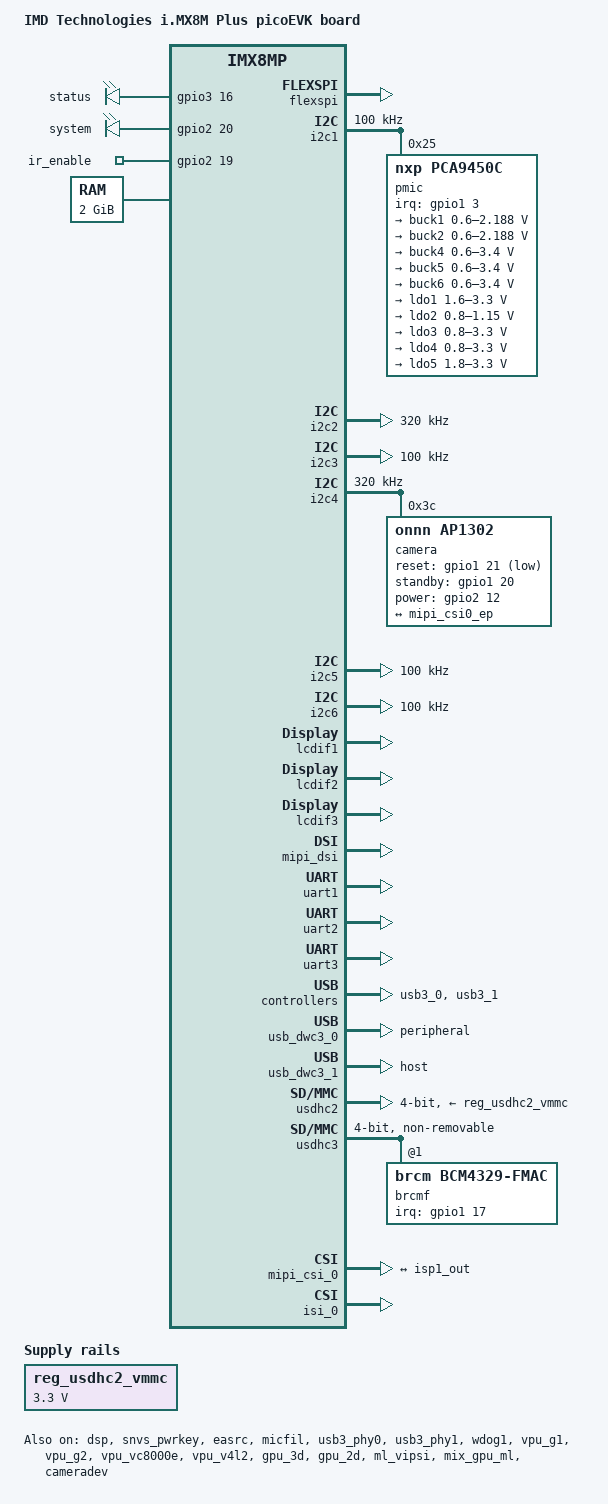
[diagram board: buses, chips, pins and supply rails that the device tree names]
// SPDX-License-Identifier: (GPL-2.0+ OR MIT)
/*
 * Copyright 2019 NXP
 */

/dts-v1/;

#include <dt-bindings/usb/pd.h>
#include "imx8mp.dtsi"

/ {
	model = "IMD Technologies i.MX8M Plus picoEVK board";
	compatible = "imdt,imx8mp-imdt-picoevk", "fsl,imx8mp";

	chosen {
		stdout-path = &uart2;
	};

	gpio-leds {
		compatible = "gpio-leds";
		pinctrl-names = "default";
		pinctrl-0 = <&pinctrl_gpio_led>;

		status {
			label = "status";
			gpios = <&gpio3 16 GPIO_ACTIVE_HIGH>;
			default-state = "on";
		};

		system {
			label = "system";
			gpios = <&gpio2 20 GPIO_ACTIVE_HIGH>;
			default-state = "on";
		};

		ir_enable {
			label = "ir_enable";
			gpios = <&gpio2 19 GPIO_ACTIVE_HIGH>;
			default-state = "off";
		};
	};

	memory@40000000 {
		device_type = "memory";
		reg = <0x0 0x40000000 0 0x80000000>;
	};

	resmem: reserved-memory {
		#address-cells = <2>;
		#size-cells = <2>;
		ranges;

		/* global autoconfigured region for contiguous allocations */
		linux,cma {
			compatible = "shared-dma-pool";
			reusable;
			size = <0 0x20000000>;
			alloc-ranges = <0 0x40000000 0 0x80000000>;
			linux,cma-default;
		};
	};

	reg_usdhc2_vmmc: regulator-usdhc2 {
		compatible = "regulator-fixed";
		regulator-name = "VSD_3V3";
		regulator-min-microvolt = <3300000>;
		regulator-max-microvolt = <3300000>;
	};

	sound-micfil {
		compatible = "fsl,imx-audio-micfil";
		model = "imx-audio-micfil";
		cpu-dai = <&micfil>;
	};
};

&A53_0 {
	cpu-supply = <&buck2>;
};

&A53_1 {
	cpu-supply = <&buck2>;
};

&A53_2 {
	cpu-supply = <&buck2>;
};

&A53_3 {
	cpu-supply = <&buck2>;
};

&dsp {
	status = "okay";
};

&pwm1 {
	status = "disabled";
};

&pwm2 {
	status = "disabled";
};

&pwm4 {
	status = "disabled";
};

&aud2htx {
	status = "disabled";
};

&ecspi2 {
	status = "disabled";
};

&flexspi {
	pinctrl-names = "default";
	pinctrl-0 = <&pinctrl_flexspi0>;
	status = "okay";
};

&i2c1 {
	clock-frequency = <100000>;
	pinctrl-names = "default";
	pinctrl-0 = <&pinctrl_i2c1>;
	status = "okay";

	pmic: pca9450@25 {
		reg = <0x25>;
		compatible = "nxp,pca9450c";
		/* PMIC PCA9450 PMIC_nINT GPIO1_IO3 */
		pinctrl-0 = <&pinctrl_pmic>;
		interrupt-parent = <&gpio1>;
		interrupts = <3 GPIO_ACTIVE_LOW>;

		regulators {
			buck1: BUCK1 {
				regulator-name = "BUCK1";
				regulator-min-microvolt = <600000>;
				regulator-max-microvolt = <2187500>;
				regulator-boot-on;
				regulator-always-on;
				regulator-ramp-delay = <3125>;
			};

			buck2: BUCK2 {
				regulator-name = "BUCK2";
				regulator-min-microvolt = <600000>;
				regulator-max-microvolt = <2187500>;
				regulator-boot-on;
				regulator-always-on;
				regulator-ramp-delay = <3125>;
				nxp,dvs-run-voltage = <950000>;
				nxp,dvs-standby-voltage = <850000>;
			};

			buck4: BUCK4{
				regulator-name = "BUCK4";
				regulator-min-microvolt = <600000>;
				regulator-max-microvolt = <3400000>;
				regulator-boot-on;
				regulator-always-on;
			};

			buck5: BUCK5{
				regulator-name = "BUCK5";
				regulator-min-microvolt = <600000>;
				regulator-max-microvolt = <3400000>;
				regulator-boot-on;
				regulator-always-on;
			};

			buck6: BUCK6 {
				regulator-name = "BUCK6";
				regulator-min-microvolt = <600000>;
				regulator-max-microvolt = <3400000>;
				regulator-boot-on;
				regulator-always-on;
			};

			ldo1: LDO1 {
				regulator-name = "LDO1";
				regulator-min-microvolt = <1600000>;
				regulator-max-microvolt = <3300000>;
				regulator-boot-on;
				regulator-always-on;
			};

			ldo2: LDO2 {
				regulator-name = "LDO2";
				regulator-min-microvolt = <800000>;
				regulator-max-microvolt = <1150000>;
				regulator-boot-on;
				regulator-always-on;
			};

			ldo3: LDO3 {
				regulator-name = "LDO3";
				regulator-min-microvolt = <800000>;
				regulator-max-microvolt = <3300000>;
				regulator-boot-on;
				regulator-always-on;
			};

			ldo4: LDO4 {
				regulator-name = "LDO4";
				regulator-min-microvolt = <800000>;
				regulator-max-microvolt = <3300000>;
				regulator-boot-on;
				regulator-always-on;
			};

			ldo5: LDO5 {
				regulator-name = "LDO5";
				regulator-min-microvolt = <1800000>;
				regulator-max-microvolt = <3300000>;
				regulator-boot-on;
				regulator-always-on;
			};
		};
	};
};

&i2c2 {
	clock-frequency = <320000>;
	pinctrl-names = "default";
	pinctrl-0 = <&pinctrl_i2c2>;
	status = "okay";

	// bmx160 {
	// 	compatible = "bosch,bmx160";
	// 	reg = <0x68>;

	// 	pinctrl-0 = <&pinctrl_imu>;

	// 	interrupt-parent = <&gpio3>;
	// 	interrupts = <14 IRQ_TYPE_EDGE_RISING>;
	// 	interrupt-names = "INT1";
	// };
};

&i2c3 {
	clock-frequency = <100000>;
	pinctrl-names = "default";
	pinctrl-0 = <&pinctrl_i2c3>;
	status = "okay";

	/* TODO: GG25LJ */
	/* TODO: HM0360 */

	// bq25890 {
	// 	compatible = "ti,bq25890";
	// 	reg = <0x6a>;

	// 	// interrupt-parent = <&gpio1>;
	// 	// interrupts = <16 IRQ_TYPE_EDGE_FALLING>;

	// 	ti,battery-regulation-voltage = <4200000>;
	// 	ti,charge-current = <1000000>;
	// 	ti,termination-current = <50000>;
	// 	ti,precharge-current = <128000>;
	// 	ti,minimum-sys-voltage = <3600000>;
	// 	ti,boost-voltage = <5000000>;
	// 	ti,boost-max-current = <500000>;

	// 	ti,use-ilim-pin;
	// 	ti,thermal-regulation-threshold = <120>;
	// };

	// bme688 {
	// 	compatible = "bosch,bme688";
	// 	reg = <0x76>;
	// };
};

&i2c4 {
	clock-frequency = <320000>;
	pinctrl-names = "default";
	pinctrl-0 = <&pinctrl_i2c4>;
	status = "okay";

	camera@3c {
		compatible = "onnn,ap1302";
		reg = <0x3c>;

		pinctrl-names = "default";
		pinctrl-0 = <&pinctrl_csi0_pwn>, <&pinctrl_csi0_stby>, <&pinctrl_csi0_rst>, <&pinctrl_csi_mclk>;

		clocks = <&clk IMX8MP_CLK_IPP_DO_CLKO2>;
		clock-names = "csi_mclk";
		assigned-clocks = <&clk IMX8MP_CLK_IPP_DO_CLKO2>;
		assigned-clock-parents = <&clk IMX8MP_CLK_24M>;
		assigned-clock-rates = <24000000>;

		reset-gpios = <&gpio1 21 GPIO_ACTIVE_LOW>;
		standby-gpios = <&gpio1 20 GPIO_ACTIVE_HIGH>;
		power-gpios = <&gpio2 12 GPIO_ACTIVE_HIGH>;

		port {
			isp1_out: endpoint {
				remote-endpoint = <&mipi_csi0_ep>;
				data-lanes = <1 2 3 4>;
			};
		};

		sensors {
			#address-cells = <1>;
			#size-cells = <0>;

			onnn,model = "onnn,ar1335";

			sensor@0 {
				reg = <0>;
			};
		};
	};
};

&i2c5 {
	clock-frequency = <100000>;
	pinctrl-names = "default";
	pinctrl-0 = <&pinctrl_i2c5>;
	status = "okay";
};

&i2c6 {
	clock-frequency = <100000>;
	pinctrl-names = "default";
	pinctrl-0 = <&pinctrl_i2c6>;
	status = "okay";

	/* TODO: optional display */
};

&irqsteer_hdmi {
	status = "disabled";
};

&hdmi_blk_ctrl {
	status = "disabled";
};

&hdmi_pavi {
	status = "disabled";
};

&hdmi {
	status = "disabled";
};

&hdmiphy {
	status = "disabled";
};

&lcdif1 {
	status = "okay";
};

&lcdif2 {
	status = "okay";
};

&lcdif3 {
	status = "okay";

	thres-low  = <1 2>;             /* (FIFO * 1 / 2) */
	thres-high = <3 4>;             /* (FIFO * 3 / 4) */
};

&ldb {
	status = "disabled";
};

&ldb_phy {
	status = "disabled";
};

&mipi_dsi {
	status = "okay";

	// port@1 {
	// 	dsim_to_adv7535: endpoint {
	// 		remote-endpoint = <&adv7535_from_dsim>;
	// 		attach-bridge;
	// 	};
	// };
};

&snvs_pwrkey {
	status = "okay";
};

&easrc {
	fsl,asrc-rate  = <48000>;
	status = "okay";
};

&micfil {
	pinctrl-names = "default";
	pinctrl-0 = <&pinctrl_pdm>;
	assigned-clocks = <&clk IMX8MP_CLK_PDM>;
	assigned-clock-parents = <&clk IMX8MP_AUDIO_PLL1_OUT>;
	assigned-clock-rates = <196608000>;
	status = "okay";
};

&pcie{
	status = "disabled";
};

&pcie_ep{
	status = "disabled";
};

&pcie_phy{
	status = "disabled";
};

&sai2 {
	status = "disabled";
};

&sai3 {
	status = "disabled";
};

&xcvr {
	status = "disabled";
};

&sdma2 {
	status = "okay";
};

&uart1 {
	/* Bluetooth */
	pinctrl-names = "default";
	pinctrl-0 = <&pinctrl_uart1>, <&pinctrl_bluetooth>;
	assigned-clocks = <&clk IMX8MP_CLK_UART1>;
	assigned-clock-parents = <&clk IMX8MP_SYS_PLL1_80M>;
	fsl,uart-has-rtscts;
	status = "okay";

	// bluetooth {
	// 	compatible = "brcm,bcm43438-bt";

	// 	pinctrl-names = "default";
	// 	pinctrl-0 = <&pinctrl_bluetooth>;

	// 	shutdown-gpios = <&gpio1 27 GPIO_ACTIVE_HIGH>;
	// 	host-wakeup-gpios = <&gpio1 26 GPIO_ACTIVE_HIGH>;
	// };
};

&uart2 {
	/* Serial console */
	pinctrl-names = "default";
	pinctrl-0 = <&pinctrl_uart2>;
	status = "okay";
};

&uart3 {
	/* Cellular */
	pinctrl-names = "default";
	pinctrl-0 = <&pinctrl_uart3>;
	assigned-clocks = <&clk IMX8MP_CLK_UART3>;
	assigned-clock-parents = <&clk IMX8MP_SYS_PLL1_80M>;
	status = "okay";
};

&usb3_phy0 {
	fsl,phy-tx-vref-tune = <0xe>;
	fsl,phy-tx-preemp-amp-tune = <3>;
	fsl,phy-tx-vboost-level = <5>;
	fsl,phy-comp-dis-tune = <7>;
	fsl,pcs-tx-deemph-3p5db = <0x21>;
	fsl,phy-pcs-tx-swing-full = <0x7f>;
	status = "okay";
};

&usb3_0 {
	status = "okay";
};

&usb_dwc3_0 {
	dr_mode = "peripheral";
	hnp-disable;
	srp-disable;
	adp-disable;
	status = "okay";
};

&usb3_phy1 {
	fsl,phy-tx-preemp-amp-tune = <3>;
	fsl,phy-tx-vref-tune = <0xb>;
	status = "okay";
};

&usb3_1 {
	status = "okay";
};

&usb_dwc3_1 {
	pinctrl-names = "default";
	pinctrl-0 = <&pinctrl_usb1_vbus>;
	dr_mode = "host";
	status = "okay";
};

&usdhc2 {
	/* Micro SD card */
	assigned-clocks = <&clk IMX8MP_CLK_USDHC2>;
	assigned-clock-rates = <400000000>;
	pinctrl-names = "default", "state_100mhz", "state_200mhz";
	pinctrl-0 = <&pinctrl_usdhc2>;
	pinctrl-1 = <&pinctrl_usdhc2_100mhz>;
	pinctrl-2 = <&pinctrl_usdhc2_200mhz>;
	vmmc-supply = <&reg_usdhc2_vmmc>;
	bus-width = <4>;
	status = "okay";
};

&usdhc3 {
	/* Wi-Fi module */
	pinctrl-names = "default", "state_100mhz", "state_200mhz";
	pinctrl-0 = <&pinctrl_usdhc3>, <&pinctrl_usdhc3_gpio>;
	pinctrl-1 = <&pinctrl_usdhc3_100mhz>, <&pinctrl_usdhc3_gpio>;
	pinctrl-2 = <&pinctrl_usdhc3_200mhz>, <&pinctrl_usdhc3_gpio>;
	bus-width = <4>;
	pm-ignore-notify;
	keep-power-in-suspend;
	non-removable;
	cap-power-off-card;
	/delete-property/ vmmc-supply;
	status = "okay";

	brcmf: bcrmf@1 {
		reg = <1>;
		compatible = "brcm,bcm4329-fmac";

		pinctrl-names = "default";
		pinctrl-0 = <&pinctrl_wlan_irq>;

		interrupt-parent = <&gpio1>;
		interrupts = <17 IRQ_TYPE_LEVEL_HIGH>;
		interrupt-names = "host-wake";
	};
};

&wdog1 {
	pinctrl-names = "default";
	pinctrl-0 = <&pinctrl_wdog>;
	fsl,ext-reset-output;
	status = "okay";
};

&iomuxc {
	pinctrl-names = "default";

	pinctrl_flexspi0: flexspi0grp {
		fsl,pins = <
			MX8MP_IOMUXC_NAND_ALE__FLEXSPI_A_SCLK           0x1c2
			MX8MP_IOMUXC_NAND_CE0_B__FLEXSPI_A_SS0_B        0x82
			MX8MP_IOMUXC_NAND_DATA00__FLEXSPI_A_DATA00      0x82
			MX8MP_IOMUXC_NAND_DATA01__FLEXSPI_A_DATA01      0x82
		>;
	};

	pinctrl_gpio_led: gpioledgrp {
		fsl,pins = <
			MX8MP_IOMUXC_NAND_READY_B__GPIO3_IO16	0x19
			MX8MP_IOMUXC_SD2_WP__GPIO2_IO20		0x19
			MX8MP_IOMUXC_SD2_RESET_B__GPIO2_IO19	0x19
		>;
	};

	pinctrl_i2c1: i2c1grp {
		fsl,pins = <
			MX8MP_IOMUXC_I2C1_SCL__I2C1_SCL		0x400001c3
			MX8MP_IOMUXC_I2C1_SDA__I2C1_SDA		0x400001c3
		>;
	};

	pinctrl_i2c2: i2c2grp {
		fsl,pins = <
			MX8MP_IOMUXC_I2C2_SCL__I2C2_SCL		0x400001c3
			MX8MP_IOMUXC_I2C2_SDA__I2C2_SDA		0x400001c3
		>;
	};

	pinctrl_i2c3: i2c3grp {
		fsl,pins = <
			MX8MP_IOMUXC_I2C3_SCL__I2C3_SCL		0x400001c3
			MX8MP_IOMUXC_I2C3_SDA__I2C3_SDA		0x400001c3
		>;
	};

	pinctrl_i2c4: i2c4grp {
		fsl,pins = <
			MX8MP_IOMUXC_I2C4_SCL__I2C4_SCL			0x400001c3
			MX8MP_IOMUXC_I2C4_SDA__I2C4_SDA			0x400001c3
		>;
	};

	pinctrl_i2c5: i2c5grp {
		fsl,pins = <
			MX8MP_IOMUXC_HDMI_DDC_SCL__I2C5_SCL		0x400001c3
			MX8MP_IOMUXC_HDMI_DDC_SDA__I2C5_SDA		0x400001c3
		>;
	};

	pinctrl_i2c6: i2c6grp {
		fsl,pins = <
			MX8MP_IOMUXC_HDMI_CEC__I2C6_SCL			0x400001c3
			MX8MP_IOMUXC_HDMI_HPD__I2C6_SDA			0x400001c3
		>;
	};

	pinctrl_pmic: pmicirq {
		fsl,pins = <
			MX8MP_IOMUXC_GPIO1_IO03__GPIO1_IO03	0x41
		>;
	};

	// pinctrl_imu: imuirq {
	// 	fsl,pins = <
	// 		MX8MP_IOMUXC_NAND_DQS__GPIO3_IO14	0x41
	// 	>;
	// };

	pinctrl_pdm: pdmgrp {
		fsl,pins = <
			MX8MP_IOMUXC_SAI3_RXC__AUDIOMIX_PDM_CLK		0xd6
			MX8MP_IOMUXC_SAI3_RXFS__AUDIOMIX_PDM_BIT_STREAM00	0xd6
			MX8MP_IOMUXC_SAI5_RXD3__AUDIOMIX_PDM_BIT_STREAM03	0xd6
		>;
	};

	pinctrl_uart1: uart1grp {
		fsl,pins = <
			MX8MP_IOMUXC_UART1_RXD__UART1_DCE_RX	0x140
			MX8MP_IOMUXC_UART1_TXD__UART1_DCE_TX	0x140
			MX8MP_IOMUXC_UART3_RXD__UART1_DCE_CTS	0x140
			MX8MP_IOMUXC_UART3_TXD__UART1_DCE_RTS	0x140
		>;
	};

	pinctrl_uart2: uart2grp {
		fsl,pins = <
			MX8MP_IOMUXC_UART2_RXD__UART2_DCE_RX	0x49
			MX8MP_IOMUXC_UART2_TXD__UART2_DCE_TX	0x49
		>;
	};

	pinctrl_uart3: uart3grp {
		fsl,pins = <
			MX8MP_IOMUXC_ECSPI1_SCLK__UART3_DCE_RX		0x140
			MX8MP_IOMUXC_ECSPI1_MOSI__UART3_DCE_TX		0x140
		>;
	};

	pinctrl_usb1_vbus: usb1grp {
		fsl,pins = <
			MX8MP_IOMUXC_GPIO1_IO14__USB2_PWR		0x19
		>;
	};

	pinctrl_usdhc2: usdhc2grp {
		fsl,pins = <
			MX8MP_IOMUXC_SD2_CLK__USDHC2_CLK	0x190
			MX8MP_IOMUXC_SD2_CMD__USDHC2_CMD	0x1d0
			MX8MP_IOMUXC_SD2_DATA0__USDHC2_DATA0	0x1d0
			MX8MP_IOMUXC_SD2_DATA1__USDHC2_DATA1	0x1d0
			MX8MP_IOMUXC_SD2_DATA2__USDHC2_DATA2	0x1d0
			MX8MP_IOMUXC_SD2_DATA3__USDHC2_DATA3	0x1d0
			MX8MP_IOMUXC_GPIO1_IO04__USDHC2_VSELECT	0xc1
		>;
	};

	pinctrl_usdhc2_100mhz: usdhc2-100mhzgrp {
		fsl,pins = <
			MX8MP_IOMUXC_SD2_CLK__USDHC2_CLK	0x194
			MX8MP_IOMUXC_SD2_CMD__USDHC2_CMD	0x1d4
			MX8MP_IOMUXC_SD2_DATA0__USDHC2_DATA0	0x1d4
			MX8MP_IOMUXC_SD2_DATA1__USDHC2_DATA1	0x1d4
			MX8MP_IOMUXC_SD2_DATA2__USDHC2_DATA2	0x1d4
			MX8MP_IOMUXC_SD2_DATA3__USDHC2_DATA3	0x1d4
			MX8MP_IOMUXC_GPIO1_IO04__USDHC2_VSELECT 0xc1
		>;
	};

	pinctrl_usdhc2_200mhz: usdhc2-200mhzgrp {
		fsl,pins = <
			MX8MP_IOMUXC_SD2_CLK__USDHC2_CLK	0x196
			MX8MP_IOMUXC_SD2_CMD__USDHC2_CMD	0x1d6
			MX8MP_IOMUXC_SD2_DATA0__USDHC2_DATA0	0x1d6
			MX8MP_IOMUXC_SD2_DATA1__USDHC2_DATA1	0x1d6
			MX8MP_IOMUXC_SD2_DATA2__USDHC2_DATA2	0x1d6
			MX8MP_IOMUXC_SD2_DATA3__USDHC2_DATA3	0x1d6
			MX8MP_IOMUXC_GPIO1_IO04__USDHC2_VSELECT 0xc1
		>;
	};

	pinctrl_usdhc3: usdhc3grp {
		fsl,pins = <
			MX8MP_IOMUXC_ENET_RD2__USDHC3_CLK       0x190
			MX8MP_IOMUXC_ENET_RD3__USDHC3_CMD       0x1d0
			MX8MP_IOMUXC_ENET_TX_CTL__USDHC3_DATA0  0x1d0
			MX8MP_IOMUXC_ENET_TXC__USDHC3_DATA1     0x1d0
			MX8MP_IOMUXC_ENET_RX_CTL__USDHC3_DATA2  0x1d0
			MX8MP_IOMUXC_ENET_RXC__USDHC3_DATA3     0x1d0
		>;
	};

	pinctrl_usdhc3_100mhz: usdhc3-100mhzgrp {
		fsl,pins = <
			MX8MP_IOMUXC_ENET_RD2__USDHC3_CLK       0x194
			MX8MP_IOMUXC_ENET_RD3__USDHC3_CMD       0x1d4
			MX8MP_IOMUXC_ENET_TX_CTL__USDHC3_DATA0  0x1d4
			MX8MP_IOMUXC_ENET_TXC__USDHC3_DATA1     0x1d4
			MX8MP_IOMUXC_ENET_RX_CTL__USDHC3_DATA2  0x1d4
			MX8MP_IOMUXC_ENET_RXC__USDHC3_DATA3     0x1d4
		>;
	};

	pinctrl_usdhc3_200mhz: usdhc3-200mhzgrp {
		fsl,pins = <
			MX8MP_IOMUXC_ENET_RD2__USDHC3_CLK       0x196
			MX8MP_IOMUXC_ENET_RD3__USDHC3_CMD       0x1d6
			MX8MP_IOMUXC_ENET_TX_CTL__USDHC3_DATA0  0x1d6
			MX8MP_IOMUXC_ENET_TXC__USDHC3_DATA1     0x1d6
			MX8MP_IOMUXC_ENET_RX_CTL__USDHC3_DATA2  0x1d6
			MX8MP_IOMUXC_ENET_RXC__USDHC3_DATA3     0x1d6
		>;
	};

	// WL_REG_ON
	pinctrl_usdhc3_gpio: usdhc3gpiogrp {
		fsl,pins = <
			MX8MP_IOMUXC_ENET_MDC__GPIO1_IO16	0x1c4
		>;
	};

	// BT_REG_ON
	pinctrl_bluetooth: bluetoothgrp {
		fsl,pins = <
			MX8MP_IOMUXC_ENET_RD1__GPIO1_IO27	0x1c4
			MX8MP_IOMUXC_ENET_RD0__GPIO1_IO26	0x1c4
		>;
	};

	pinctrl_wdog: wdoggrp {
		fsl,pins = <
			MX8MP_IOMUXC_GPIO1_IO02__WDOG1_WDOG_B	0xc6
		>;
	};

	// WL_WAKE
	pinctrl_wlan_irq: wlangrp {
		fsl,pins = <
			MX8MP_IOMUXC_ENET_MDIO__GPIO1_IO17	0x19
		>;
	};

	// HR_CAM_EN
	pinctrl_csi0_pwn: csi0_pwn_grp {
		fsl,pins = <
			MX8MP_IOMUXC_SD2_CD_B__GPIO2_IO12	0x19
		>;
	};

	// ISP_STBY
	pinctrl_csi0_stby: csi0_stby_grp {
		fsl,pins = <
			MX8MP_IOMUXC_ENET_TD1__GPIO1_IO20	0x19
		>;
	};

	// ISP_RSTn
	pinctrl_csi0_rst: csi0_rst_grp {
		fsl,pins = <
			MX8MP_IOMUXC_ENET_TD0__GPIO1_IO21	0x19
		>;
	};

	pinctrl_csi_mclk: csi_mclk_grp {
		fsl,pins = <
			MX8MP_IOMUXC_GPIO1_IO15__CCM_CLKO2	0x59
		>;
	};
};

&vpu_g1 {
	status = "okay";
};

&vpu_g2 {
	status = "okay";
};

&vpu_vc8000e {
	status = "okay";
};

&vpu_v4l2 {
	status = "okay";
};

&gpu_3d {
	status = "okay";
};

&gpu_2d {
	status = "okay";
};

&ml_vipsi {
	status = "okay";
};

&mix_gpu_ml {
	status = "okay";
};

&mipi_csi_0 {
	#address-cells = <1>;
	#size-cells = <0>;
	status = "okay";

	port@0 {
		reg = <0>;
		mipi_csi0_ep: endpoint {
			remote-endpoint = <&isp1_out>;
			data-lanes = <4>;
			csis-hs-settle = <13>;
			csis-clk-settle = <2>;
			csis-wclk;
		};
	};
};

&cameradev {
	status = "okay";
};

&isi_0 {
	status = "okay";

	cap_device {
		status = "okay";
	};

	m2m_device {
		status = "okay";
	};
};
